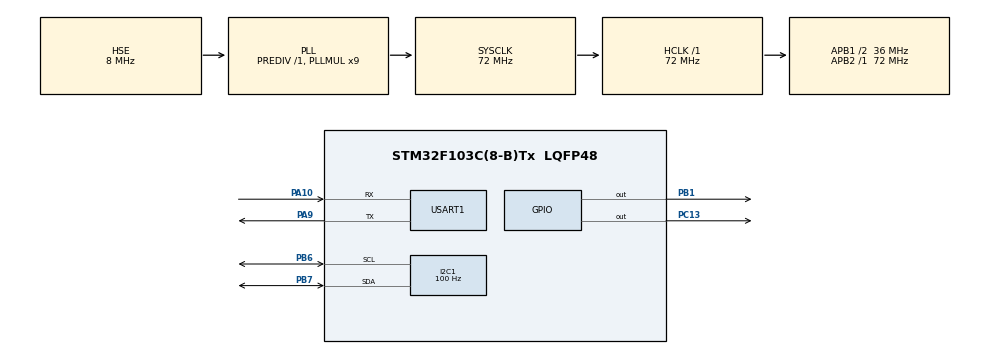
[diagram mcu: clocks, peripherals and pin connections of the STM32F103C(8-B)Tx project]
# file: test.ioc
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Dma.Request0=USART1_RX
Dma.USART1_RX.0.Direction=DMA_PERIPH_TO_MEMORY
Dma.USART1_RX.0.Instance=DMA1_Channel5
Dma.USART1_RX.0.MemDataAlignment=DMA_MDATAALIGN_BYTE
Dma.USART1_RX.0.MemInc=DMA_MINC_ENABLE
Dma.USART1_RX.0.Mode=DMA_NORMAL
Dma.USART1_RX.0.PeriphDataAlignment=DMA_PDATAALIGN_BYTE
Dma.USART1_RX.0.PeriphInc=DMA_PINC_DISABLE
Dma.USART1_RX.0.Priority=DMA_PRIORITY_LOW
I2C1.ClockSpeed=100
I2C1.OwnAddress=0
Mcu.Family=STM32F1
Mcu.Name=STM32F103C(8-B)Tx
Mcu.Package=LQFP48
NVIC.DMA1_Channel5_IRQn=true\:0\:0\:false\:false\:true\:false\:true
NVIC.PriorityGroup=NVIC_PRIORITYGROUP_4
NVIC.USART1_IRQn=true\:0\:0\:false\:false\:true\:true\:true
PA10.Mode=Asynchronous
PA10.Signal=USART1_RX
PA13.Mode=Serial_Wire
PA13.Signal=SYS_JTMS-SWDIO
PA14.Mode=Serial_Wire
PA14.Signal=SYS_JTCK-SWCLK
PA9.Mode=Asynchronous
PA9.Signal=USART1_TX
PB1.GPIO_ModeDefaultOutputPP=GPIO_MODE_OUTPUT_OD
PB1.Signal=GPIO_Output
PB6.Mode=I2C
PB6.Signal=I2C1_SCL
PB7.Mode=I2C
PB7.Signal=I2C1_SDA
PC13-TAMPER-RTC.GPIO_ModeDefaultOutputPP=GPIO_MODE_OUTPUT_PP
PC13-TAMPER-RTC.GPIO_PuPd=GPIO_PULLUP
PC13-TAMPER-RTC.PinState=GPIO_PIN_SET
PC13-TAMPER-RTC.Signal=GPIO_Output
PD0-OSC_IN.Mode=HSE-External-Oscillator
PD0-OSC_IN.Signal=RCC_OSC_IN
PD1-OSC_OUT.Mode=HSE-External-Oscillator
PD1-OSC_OUT.Signal=RCC_OSC_OUT
ProjectManager.HeapSize=0x200
ProjectManager.StackSize=0x400
ProjectManager.TargetToolchain=MDK-ARM V5.27
RCC.AHBFreq_Value=72000000
RCC.APB1CLKDivider=RCC_HCLK_DIV2
RCC.APB1Freq_Value=36000000
RCC.APB1TimFreq_Value=72000000
RCC.APB2Freq_Value=72000000
RCC.APB2TimFreq_Value=72000000
RCC.HCLKFreq_Value=72000000
RCC.PLLMUL=RCC_PLL_MUL9
RCC.PLLSourceVirtual=RCC_PLLSOURCE_HSE
RCC.SYSCLKFreq_VALUE=72000000
RCC.SYSCLKSource=RCC_SYSCLKSOURCE_PLLCLK
RCC.USBFreq_Value=72000000
USART1.VirtualMode=VM_ASYNC
board=custom

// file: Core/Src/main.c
/* USER CODE BEGIN Header */
/**
  ******************************************************************************
  * @file           : main.c
  * @brief          : Main program body
  ******************************************************************************
  * @attention
  *
  * <h2><center>&copy; Copyright (c) 2021 STMicroelectronics.
  * All rights reserved.</center></h2>
  *
  * This software component is licensed by ST under BSD 3-Clause license,
  * the "License"; You may not use this file except in compliance with the
  * License. You may obtain a copy of the License at:
  *                        opensource.org/licenses/BSD-3-Clause
  *
  ******************************************************************************
  */
/* USER CODE END Header */
#include "main.h"
#include "dma.h"
#include "i2c.h"
#include "usart.h"
#include "gpio.h"

/* USER CODE BEGIN Includes */
#include "stdio.h"
#include "string.h"
#include "parson.h"
#include "ads1115.h"
#include "cmd_list.h"
/* USER CODE END Includes */

/* USER CODE BEGIN PV */
#define ADS1115_ADDRESS 0x48
unsigned char ADSwrite[3];
const double voltageConv = 6.114 / 32768.0;

/* USER CODE END PV */

void SystemClock_Config(void);

/* USER CODE BEGIN 0 */
//uint8_t UART1_rxBuffer[RX_BUFFER_SIZE] = {0};

void HAL_UART_RxCpltCallback(UART_HandleTypeDef *huart)
{
    //HAL_UART_Transmit(&huart1, "interrupt\n", 10, HAL_MAX_DELAY);
    /*Do echo*/
    int ret;
    ret = CMD_ADD_TAIL(rx_buffer, rx_len);

    if (ret != CMD_OK)
        HAL_UART_Transmit(&huart1, (uint8_t *)CMD_Get_Error(ret), 2, HAL_MAX_DELAY);

    HAL_UART_Receive_DMA(&huart1, rx_buffer, RX_BUFFER_SIZE);
}

void Enable_UARTRx_IT()
{
    GPIO_InitTypeDef GPIO_InitStruct;
    __HAL_RCC_GPIOA_CLK_ENABLE();
    GPIO_InitStruct.Pin = GPIO_PIN_10;
    GPIO_InitStruct.Mode = GPIO_MODE_IT_FALLING;
    GPIO_InitStruct.Pull = GPIO_PULLUP;
    HAL_GPIO_Init(GPIOA, &GPIO_InitStruct);
    HAL_NVIC_SetPriority(EXTI15_10_IRQn, 2, 0);
    HAL_NVIC_EnableIRQ(EXTI15_10_IRQn);
}

void HAL_GPIO_EXTI_Callback(uint16_t GPIO_Pin)
{
    if(GPIO_Pin == GPIO_PIN_10)
    {
        //  HAL_NVIC_EnableIRQ(SysTick_IRQn);
        HAL_Init();
        SystemClock_Config();
        HAL_GPIO_DeInit(GPIOA, GPIO_PIN_10);//
        __HAL_RCC_GPIOA_CLK_ENABLE();
        //__HAL_RCC_GPIOA_CLK_ENABLE();
        //__HAL_RCC_GPIOB_CLK_ENABLE();
        MX_USART1_UART_Init();
        MX_I2C1_Init();
    }
}

void Go_Stop_Mode()
{
    Enable_UARTRx_IT();
    HAL_SuspendTick();
    HAL_PWR_EnterSTOPMode(PWR_LOWPOWERREGULATOR_ON, PWR_STOPENTRY_WFI);
}

void DO_BLINK(int count)
{
    char flag = 1;
    int breath_time = 20; // 20ms

    for(uint8_t i = 0; i < count; i++)
    {
        for(uint8_t j = 0; j < breath_time; j++)
        {
            HAL_GPIO_WritePin(GPIOC, GPIO_PIN_13, GPIO_PIN_SET);
            HAL_Delay(flag == 0 ? j : breath_time - j);
            HAL_GPIO_WritePin(GPIOC, GPIO_PIN_13, GPIO_PIN_RESET);
            HAL_Delay(flag > 0 ? j : breath_time - j);
        }

        flag = !flag;

        /*check weather the command is empty, if not , we should do somethins...*/
        if (cmd_list_header->next != NULL)
        {
            HAL_Delay(10);
        }

        HAL_Delay(100);
        CMD_JUST_DO_ONE();
        CMD_Show_List();
    }

}

/* USER CODE END 0 */

int main(void)
{

    /* MCU Configuration--------------------------------------------------------*/

    /* Reset of all peripherals, Initializes the Flash interface and the Systick. */
    HAL_Init();

    /* Configure the system clock */
    SystemClock_Config();

    /* Initialize all configured peripherals */
    MX_GPIO_Init();
    MX_DMA_Init();
    MX_USART1_UART_Init();
    MX_I2C1_Init();
    /* USER CODE BEGIN 2 */
    //HAL_UART_Receive_DMA(&huart1, rx_buffer, RX_BUFFER_SIZE);
    cmd_list_header = CMD_LIST_NODE_INIT();
    /* USER CODE END 2 */

    /* Infinite loop */
    /* USER CODE BEGIN WHILE */
		printf("\r\n ***********************************\r\n");
		printf("\r\n*       Hello XiaoJiu        				*\r\n");
		printf("\r\n ***********************************\r\n");
		HAL_Delay(2000);
    while (1)
    {
        /*Do blink*/
        DO_BLINK(50);

        /*Go to sleep*/
        Go_Stop_Mode();

        /*Wake up from stop mode*/
        HAL_Delay(10);
        printf("wakeup\n");
        /* USER CODE END WHILE */

    }
}

void SystemClock_Config(void)
{
    RCC_OscInitTypeDef RCC_OscInitStruct = {0};
    RCC_ClkInitTypeDef RCC_ClkInitStruct = {0};

    /** Initializes the RCC Oscillators according to the specified parameters
    * in the RCC_OscInitTypeDef structure.
    */
    RCC_OscInitStruct.OscillatorType = RCC_OSCILLATORTYPE_HSE;
    RCC_OscInitStruct.HSEState = RCC_HSE_ON;
    RCC_OscInitStruct.HSEPredivValue = RCC_HSE_PREDIV_DIV1;
    RCC_OscInitStruct.HSIState = RCC_HSI_ON;
    RCC_OscInitStruct.PLL.PLLState = RCC_PLL_ON;
    RCC_OscInitStruct.PLL.PLLSource = RCC_PLLSOURCE_HSE;
    RCC_OscInitStruct.PLL.PLLMUL = RCC_PLL_MUL9;

    if (HAL_RCC_OscConfig(&RCC_OscInitStruct) != HAL_OK)
    {
        Error_Handler();
    }

    /** Initializes the CPU, AHB and APB buses clocks
    */
    RCC_ClkInitStruct.ClockType = RCC_CLOCKTYPE_HCLK | RCC_CLOCKTYPE_SYSCLK
                                  | RCC_CLOCKTYPE_PCLK1 | RCC_CLOCKTYPE_PCLK2;
    RCC_ClkInitStruct.SYSCLKSource = RCC_SYSCLKSOURCE_PLLCLK;
    RCC_ClkInitStruct.AHBCLKDivider = RCC_SYSCLK_DIV1;
    RCC_ClkInitStruct.APB1CLKDivider = RCC_HCLK_DIV2;
    RCC_ClkInitStruct.APB2CLKDivider = RCC_HCLK_DIV1;

    if (HAL_RCC_ClockConfig(&RCC_ClkInitStruct, FLASH_LATENCY_2) != HAL_OK)
    {
        Error_Handler();
    }
}

void Error_Handler(void)
{
    __disable_irq();
    while (1)
    {
    }
}

/************************ (C) COPYRIGHT STMicroelectronics *****END OF FILE****/
